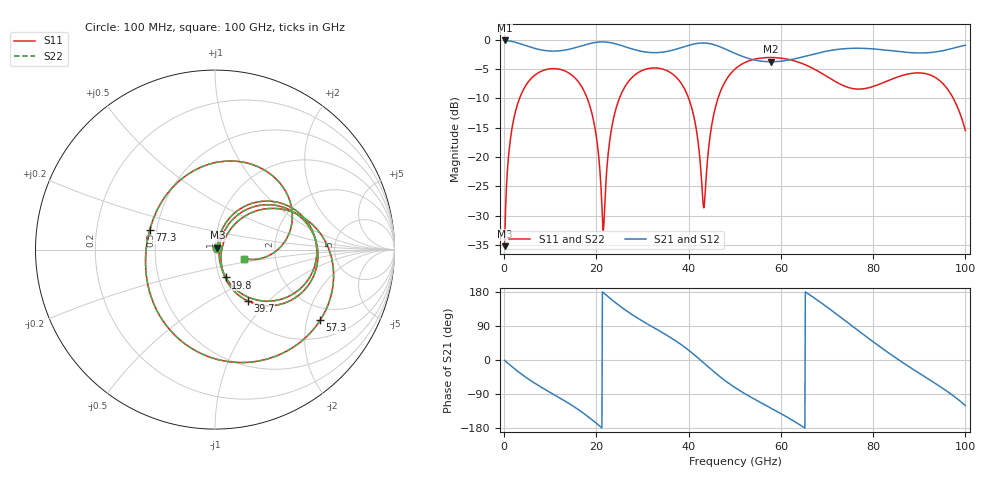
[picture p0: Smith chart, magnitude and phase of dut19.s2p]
! Touchstone file exported from HFSS 2026.1.0
!  File:  C:/ffzhzh/LocalFiles/Ansys_Project_Files/temp_train_TSV_RDL_19_1783614634_26216.aedt
!  Generated:  12:42:10 AM Jul 10, 2026
!  Design:  TSV_RDL
!  Project:  temp_train_TSV_RDL_19_1783614634_26216
! Variables:
!  h_bsmrdl = 4.23um
!  h_ox = 20um
!  h_rdl = 5um
!  h_sub = 80.01um
!  h_tmrdl = 4.52um
!  h_tsv = 80.01um
!  h_via = 3um
!  l_bsmrdl = 448.03um
!  l_sub = 2802.06um
!  l_tmrdl = 234.11um
!  m_sub = 200um
!  pitch = 49.11um
!  r_tsv = 5.65um
!  s_tmrdl = 10um
!  w_bsmrdl = 14.6um
!  w_sub = 500um
!  w_tmrdl = 25.91um
!  x_tsv_center1 = 247.065um
!  x_tsv_center2 = 709.695um
!  x_tsv_center3 = 969.715um
!  x_tsv_center4 = 1432.345um
!  x_tsv_center5 = 1692.365um
!  x_tsv_center6 = 2154.995um
# GHz S MA R 50.000000
! Terminal data exported
! Port[1] = TM_RDL1_1_T1
! Port[2] = TM_RDL5_1_T1
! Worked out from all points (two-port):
!   1000 points, 100 MHz to 100 GHz, reference 50 ohm
!   highest |S21| = -0.12 dB at 100 MHz (marker M1); lowest = -3.7 dB at 57.9 GHz (marker M2)
!   |S21| within 3 dB of the highest: start of sweep to 52.71 GHz; 63.71 GHz to end of sweep
!   lowest |S11| = -35.2 dB at 100 MHz (marker M3), VSWR 1.04, Z = 51.4 + j1.13 ohm
!   |S11| at or under -10 dB: start of sweep to 3.334 GHz; 18.02 GHz to 24.98 GHz (6.964 GHz wide, 32.4 % of centre); 40.01 GHz to 46.36 GHz (6.351 GHz wide, 14.7 % of centre) (the widest 3 of 4)
!   |S22| runs from -35.2 to -3.0 dB; largest |S21 - S12| = 1.9e-14
!   S11 on the Smith chart (normalised r, x): 100 MHz: 1.03, +0.02; 19.8 GHz: 1.07, -0.34; 39.7 GHz: 1.18, -0.76; 57.3 GHz: 1.53, -2.41; 77.3 GHz: 0.46, +0.12; 100 GHz: 1.37, -0.14
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0.1  0.01737 39.1  0.9867 -1.1  0.9867 -1.1  0.01737 39.1
! Gamma 0 0 0 0
! Port Impedance 50 0 50 0
1.6  0.1657 67.6  0.9696 -16.7  0.9696 -16.7  0.1657 67.6
4.4  0.3899 43.8  0.8994 -43.1  0.8994 -43.1  0.3899 43.9
10.6  0.5676 -1.4  0.8004 -89.9  0.8004 -89.9  0.5676 -1.4
16.8  0.3983 -46.1  0.8879 -137.0  0.8879 -137.0  0.3983 -46.0
19.8  0.1667 -68.8  0.9492 -165.1  0.9492 -165.1  0.1668 -68.7
21.5  0.0236 -3.3  0.9589 177.7  0.9589 177.7  0.02396 -3.3
23.1  0.1577 61.8  0.9441 161.5  0.9441 161.5  0.1578 61.7
25  0.3176 48.4  0.9037 143.2  0.9037 143.2  0.3176 48.3
33.4  0.5728 -11.9  0.7779 78.7  0.7779 78.7  0.5728 -11.9
39.7  0.3397 -57.5  0.889 28.7  0.889 28.7  0.3397 -57.4
43.3  0.03688 -5.6  0.9384 -7.9  0.9384 -7.9  0.0376 -5.6
45.8  0.2649 47.3  0.9006 -34.2  0.9006 -34.2  0.2651 47.1
50.1  0.5648 13.7  0.7641 -73.1  0.7641 -73.1  0.5648 13.6
57.3  0.7058 -33.9  0.65 -123.4  0.65 -123.4  0.7059 -34.0
57.9  0.7061 -37.7  0.6494 -127.4  0.6494 -127.4  0.7061 -37.8
66.7  0.5766 -100.0  0.7478 168.2  0.7478 168.2  0.5766 -100.0
72.8  0.4194 -153.7  0.8322 114.2  0.8322 114.2  0.4194 -153.7
77.3  0.3799 163.1  0.8462 72.6  0.8462 72.6  0.3798 163.1
83.4  0.4507 107.3  0.8108 18.3  0.8108 18.3  0.4506 107.4
92.8  0.4928 31.1  0.7809 -56.6  0.7809 -56.6  0.4927 31.1
100  0.1681 -17.3  0.8982 -120.2  0.8982 -120.2  0.168 -17.4
